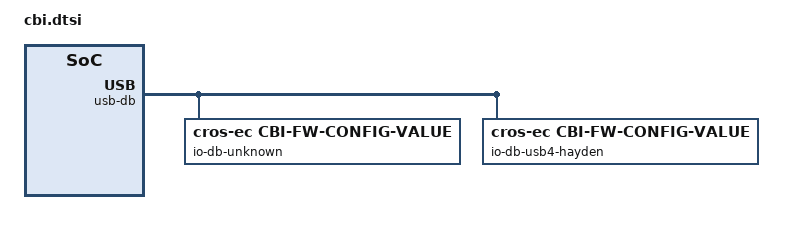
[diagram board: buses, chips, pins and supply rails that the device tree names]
/* Copyright 2023 The ChromiumOS Authors
 * Use of this source code is governed by a BSD-style license that can be
 * found in the LICENSE file.
 */

/ {
	rex-fw-config {
		compatible = "cros-ec,cbi-fw-config";

		/*
		 * FW_CONFIG field to enable USB DB.
		 */
		usb-db {
			enum-name = "FW_USB_DB";
			start = <0>;
			size = <2>;

			io-db-unknown {
				compatible = "cros-ec,cbi-fw-config-value";
				enum-name = "FW_USB_DB_NOT_CONNECTED";
				value = <0>;
			};
			io-db-usb4-hayden {
				compatible = "cros-ec,cbi-fw-config-value";
				enum-name = "FW_USB_DB_USB4_HB";
				value = <1>;
			};
		};

		/*
		 * FW_CONFIG field to change scancode for different type
		 * keyboard.
		 */
		keyboard-type {
			enum-name = "FW_KB_TYPE";
			start = <12>;
			size = <1>;

			kb-default {
				compatible = "cros-ec,cbi-fw-config-value";
				enum-name = "FW_KB_DEFAULT";
				value = <0>;
			};
			kb-ca-fr {
				compatible = "cros-ec,cbi-fw-config-value";
				enum-name = "FW_KB_CA_FR";
				value = <1>;
			};
		};
		/*
		 * FW_CONFIG field to enable touch panel power sequence
		 * control or not.
		 */
		touch-en {
			enum-name = "FW_TOUCH_EN";
			start = <14>;
			size = <1>;

			touch-en-disable {
				compatible = "cros-ec,cbi-fw-config-value";
				enum-name = "FW_TOUCH_EN_DISABLE";
				value = <0>;
			};
			touch-en-enable {
				compatible = "cros-ec,cbi-fw-config-value";
				enum-name = "FW_TOUCH_EN_ENABLE";
				value = <1>;
			};
		};
	};
};
